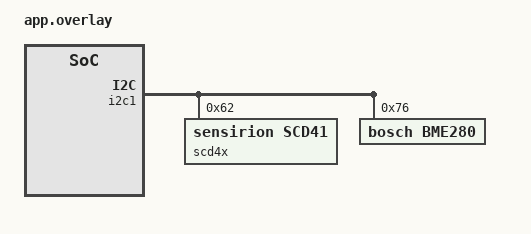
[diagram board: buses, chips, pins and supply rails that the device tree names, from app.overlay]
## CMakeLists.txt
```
cmake_minimum_required(VERSION 3.20.0)

find_package(Zephyr REQUIRED HINTS $ENV{ZEPHYR_BASE})
project(app)

target_sources(app PRIVATE src/main.c)
target_sources(app PRIVATE src/bluetoothExposure.c)
target_sources(app PRIVATE src/battery.c)
target_sources(app PRIVATE src/special_boot.c)
```

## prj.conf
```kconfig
CONFIG_BT=y
CONFIG_BT_PERIPHERAL=y
CONFIG_BT_EXT_ADV=y
CONFIG_BT_DEVICE_NAME="scd41-nrf"

CONFIG_PM_DEVICE=y
CONFIG_PM_DEVICE_SYSTEM_MANAGED=y

CONFIG_SENSOR=y
CONFIG_I2C=y

CONFIG_LOG=n
CONFIG_SERIAL=n
CONFIG_UART_CONSOLE=n
CONFIG_CONSOLE=n
CONFIG_UART_ASYNC_API=n
CONFIG_LOG_DEFAULT_LEVEL=0
CONFIG_LOG_BACKEND_UART=n
CONFIG_LOG_PRINTK=n

CONFIG_FLASH=y
CONFIG_FLASH_PAGE_LAYOUT=y
CONFIG_NVS=y
```

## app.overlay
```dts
/ {
	aliases {
		scd41 = &scd4x;
		bme280 = &bme280;
	};
};

&i2c1 {
	status = "okay";
	scd4x: scd4x@62 {
		status = "okay";
		compatible = "sensirion,scd41";
		reg = <0x62>;
		mode = <2>;
	};
	bme280: bme280@76 {
		status = "okay";
        compatible = "bosch,bme280";
        reg = <0x76>;
    };
};
```

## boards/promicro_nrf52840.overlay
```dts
/ {
	chosen {
		zephyr,settings-partition = &storage_partition;
	};
};

&flash0 {
	partitions {
		storage_partition: partition@d4000 {
			label = "storage";
			reg = <0x000d4000 0x00008000>;
		};
	};
};
```

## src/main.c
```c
#include <zephyr/types.h>
#include <stddef.h>
// #include <zephyr/sys/printk.h>
#include <zephyr/sys/byteorder.h>
#include <zephyr/sys/util.h>

#include <zephyr/kernel.h>
#include <zephyr/device.h>
#include <zephyr/drivers/sensor.h>
#include <zephyr/drivers/i2c.h>
#include <zephyr/drivers/sensor/scd4x.h>

#include "bluetoothExposure.h"
#include "battery.h"
#include "special_boot.h"

static const struct device *const scd_sensor = DEVICE_DT_GET(DT_ALIAS(scd41));
static const struct device *const bme_sensor = DEVICE_DT_GET(DT_ALIAS(bme280));



#include <zephyr/sys/byteorder.h>
#include <zephyr/sys/crc.h>

enum scd4x_model_t {
	SCD4X_MODEL_SCD40,
	SCD4X_MODEL_SCD41,
};

enum scd4x_mode_t {
	SCD4X_MODE_NORMAL,
	SCD4X_MODE_LOW_POWER,
	SCD4X_MODE_SINGLE_SHOT,
};

struct scd4x_config {
	struct i2c_dt_spec bus;
	enum scd4x_model_t model;
	enum scd4x_mode_t mode;
};

struct scd4x_data {
	uint16_t temp_sample;
	uint16_t humi_sample;
	uint16_t co2_sample;
};

struct cmds_t {
	uint16_t cmd;
	uint16_t cmd_duration_ms;
};

#define SCD4X_CMD_REINIT                         0
#define SCD4X_CMD_START_PERIODIC_MEASUREMENT     1
#define SCD4X_CMD_STOP_PERIODIC_MEASUREMENT      2
#define SCD4X_CMD_READ_MEASUREMENT               3
#define SCD4X_CMD_SET_TEMPERATURE_OFFSET         4
#define SCD4X_CMD_GET_TEMPERATURE_OFFSET         5
#define SCD4X_CMD_SET_SENSOR_ALTITUDE            6
#define SCD4X_CMD_GET_SENSOR_ALTITUDE            7
#define SCD4X_CMD_SET_AMBIENT_PRESSURE           8
#define SCD4X_CMD_GET_AMBIENT_PRESSURE           9
#define SCD4X_CMD_FORCED_RECALIB                 10
#define SCD4X_CMD_SET_AUTOMATIC_CALIB_ENABLE     11
#define SCD4X_CMD_GET_AUTOMATIC_CALIB_ENABLE     12
#define SCD4X_CMD_LOW_POWER_PERIODIC_MEASUREMENT 13
#define SCD4X_CMD_GET_DATA_READY_STATUS          14
#define SCD4X_CMD_PERSIST_SETTINGS               15
#define SCD4X_CMD_SELF_TEST                      16
#define SCD4X_CMD_FACTORY_RESET                  17
#define SCD4X_CMD_MEASURE_SINGLE_SHOT            18
#define SCD4X_CMD_MEASURE_SINGLE_SHOT_RHT        19
#define SCD4X_CMD_POWER_DOWN                     20
#define SCD4X_CMD_WAKE_UP                        21
#define SCD4X_CMD_SET_SELF_CALIB_INITIAL_PERIOD  22
#define SCD4X_CMD_GET_SELF_CALIB_INITIAL_PERIOD  23
#define SCD4X_CMD_SET_SELF_CALIB_STANDARD_PERIOD 24
#define SCD4X_CMD_GET_SELF_CALIB_STANDARD_PERIOD 25

#define SCD4X_AMBIENT_PRESSURE_IDX_MAX   1200

#define SCD4X_MAX_TEMP 175
#define SCD4X_MIN_TEMP -45

#define SCD4X_CRC_POLY 0x31
#define SCD4X_CRC_INIT 0xFF

const struct cmds_t scd4x_cmds_MULTI[] = {
	{0x3646, 30},   {0x21B1, 0},  {0x3F86, 500}, {0xEC05, 1},   {0x241D, 1},     {0x2318, 1},
	{0x2427, 1},    {0x2322, 1},  {0xE000, 1},   {0xE000, 1},   {0x362F, 400},   {0x2416, 1},
	{0x2313, 1},    {0x21AC, 0},  {0xE4B8, 1},   {0x3615, 800}, {0x3639, 10000}, {0x3632, 1200},
	{0x219D, 5000}, {0x2196, 50}, {0x36E0, 1},   {0x36F6, 30},  {0x2445, 1},     {0x2340, 1},
	{0x244E, 1},    {0x234B, 1},
};

static uint8_t scd4x_calc_crc(uint16_t value)
{
	uint8_t buf[2];

	sys_put_be16(value, buf);

	return crc8(buf, 2, SCD4X_CRC_POLY, SCD4X_CRC_INIT, false);
}

static int scd4x_write_command(const struct device *dev, uint8_t cmd)
{
	const struct scd4x_config *cfg = dev->config;
	uint8_t tx_buf[2];
	int ret;

	sys_put_be16(scd4x_cmds_MULTI[cmd].cmd, tx_buf);

	ret = i2c_write_dt(&cfg->bus, tx_buf, sizeof(tx_buf));

	if (scd4x_cmds_MULTI[cmd].cmd_duration_ms) {
		k_msleep(scd4x_cmds_MULTI[cmd].cmd_duration_ms);
	}

	return ret;
}

static int scd4x_write_reg(const struct device *dev, uint8_t cmd, uint16_t *data, uint8_t data_size)
{
	const struct scd4x_config *cfg = dev->config;
	int ret;
	uint8_t tx_buf[((data_size * 3) + 2)];

	sys_put_be16(scd4x_cmds_MULTI[cmd].cmd, tx_buf);

	uint8_t tx_buf_pos = 2;

	for (uint8_t i = 0; i < data_size; i++) {
		sys_put_be16(data[i], &tx_buf[tx_buf_pos]);
		tx_buf_pos += 2;
		tx_buf[tx_buf_pos++] = scd4x_calc_crc(data[i]);
	}

	ret = i2c_write_dt(&cfg->bus, tx_buf, sizeof(tx_buf));
	if (ret < 0) {
		 //printk("Failed to write i2c data.");
		return ret;
	}

	if (scd4x_cmds_MULTI[cmd].cmd_duration_ms) {
		k_msleep(scd4x_cmds_MULTI[cmd].cmd_duration_ms);
	}
	return 0;
}

static int scd4x_read_reg(const struct device *dev, uint8_t *rx_buf, uint8_t rx_buf_size)
{
	const struct scd4x_config *cfg = dev->config;
	int ret;

	ret = i2c_read_dt(&cfg->bus, rx_buf, rx_buf_size);
	if (ret < 0) {
		// printk("Failed to read i2c data.");
		return ret;
	}

	for (uint8_t i = 0; i < (rx_buf_size / 3); i++) {
		ret = scd4x_calc_crc(sys_get_be16(&rx_buf[i * 3]));
		if (ret != rx_buf[(i * 3) + 2]) {
			// printk("Invalid CRC.");
			return -EIO;
		}
	}

	return 0;
}

int wakeup_scd41(const struct device *dev)
{
	/*send wake up command twice because of an expected nack return in power down mode*/
	scd4x_write_command(dev, SCD4X_CMD_WAKE_UP);
	int ret = scd4x_write_command(dev, SCD4X_CMD_WAKE_UP);
	if (ret < 0) {
		 //printk("Failed write wake_up command.");
		return ret;
	}

	return 0;
}

int power_down_scd41(const struct device *dev) 
{
	int ret = scd4x_write_command(dev, SCD4X_CMD_POWER_DOWN);
	if (ret < 0) {
		 //printk("Failed to write power_down command.");
		return ret;
	}

	return 0;
}

int _set_ambient_pressure_scd41(const struct device *dev, const struct sensor_value *val)
{
	int ret;

	uint16_t ambient_pressure = val->val1;

	ret = scd4x_write_reg(dev, SCD4X_CMD_SET_AMBIENT_PRESSURE, &ambient_pressure, 1);
	if (ret < 0) {
		 //printk("Failed to write set_ambient_pressure register.");
		return ret;
	}

	return 0;
}

int _scd4x_forced_recalibration(const struct device *dev, uint16_t target_concentration,
			       uint16_t *frc_correction)
{
	uint8_t rx_buf[3];
	int ret;

	ret = scd4x_write_reg(dev, SCD4X_CMD_FORCED_RECALIB, &target_concentration, 1);
	if (ret < 0) {
		// printk("Failed to write perform_forced_recalibration register.");
		return ret;
	}

	ret = scd4x_read_reg(dev, rx_buf, sizeof(rx_buf));
	if (ret < 0) {
		// printk("Failed to read perform_forced_recalibration register.");
		return ret;
	}

	*frc_correction = sys_get_be16(rx_buf);

	/*from datasheet*/
	if (*frc_correction == 0xFFFF) {
		// printk("FRC failed. Returned 0xFFFF.");
		return -EIO;
	}

	*frc_correction -= 0x8000;

	return 0;
}

int set_ambient_pressure_scd41(const struct device *dev, const struct sensor_value *val)
{
	if (val->val1 > SCD4X_AMBIENT_PRESSURE_IDX_MAX || val->val1 < 700) {
		return -EINVAL;
	}
	int ret = _set_ambient_pressure_scd41(dev, val);
	if (ret < 0) {
		 //printk("Failed to set ambient pressure.");
		return ret;
	}
	
	return 0;
}

static int scd4x_channel_get(const struct device *dev, enum sensor_channel chan,
			     struct sensor_value *val)
{
	const struct scd4x_data *data = dev->data;
	int64_t tmp_val;

	switch ((enum sensor_channel)chan) {
	case SENSOR_CHAN_AMBIENT_TEMP:
		/*Calculation from Datasheet*/
		tmp_val = data->temp_sample * SCD4X_MAX_TEMP;
		val->val1 = (int32_t)(tmp_val / 0xFFFF) + SCD4X_MIN_TEMP;
		val->val2 = ((tmp_val % 0xFFFF) * 1000000) / 0xFFFF;
		break;
	case SENSOR_CHAN_HUMIDITY:
		/*Calculation from Datasheet*/
		tmp_val = data->humi_sample * 100;
		val->val1 = (int32_t)(tmp_val / 0xFFFF);
		val->val2 = ((tmp_val % 0xFFFF) * 1000000) / 0xFFFF;
		break;
	case SENSOR_CHAN_CO2:
		val->val1 = data->co2_sample;
		val->val2 = 0;
		break;
	default:
		return -ENOTSUP;
	}
	return 0;
}

int get_co2_data_scd41(
	const struct device *dev,
	const struct sensor_value * pressure,
	const struct sensor_value * co2_measurement
) {
	int ret;

	ret = wakeup_scd41(dev);
	if (ret < 0) {
		return ret;
	}

	ret = set_ambient_pressure_scd41(dev, pressure);
	if (ret < 0) {
		return ret;
	}

	ret = scd4x_write_command(dev, SCD4X_CMD_MEASURE_SINGLE_SHOT);
	if (ret < 0) {
		return ret;
	}

	ret = scd4x_channel_get(dev, SENSOR_CHAN_CO2, co2_measurement);
	if (ret < 0) {
		return ret;
	}

	ret = power_down_scd41(dev);
	if (ret < 0) {
		return ret;
	}

	return 0;
}

int round_to_integer(double number) {
	int result = (int)(number + (number >= 0 ? 0.5 : -0.5));
	return result;
}

int prepare_measuring(void)
{
	if (!device_is_ready(scd_sensor))
	{
 		//printk("SCD41 %s is not ready.\n", scd_sensor->name);
		return -1;
	}


	struct sensor_value auto_calibration = {
		.val1 = 0,
		.val2 = 0,
	};

	sensor_attr_get(scd_sensor, SENSOR_CHAN_ALL, SENSOR_ATTR_SCD4X_AUTOMATIC_CALIB_ENABLE, &auto_calibration);

	if (auto_calibration.val1 != 0) {
		auto_calibration.val1 = 0;
		sensor_attr_set(scd_sensor, SENSOR_CHAN_ALL, SENSOR_ATTR_SCD4X_AUTOMATIC_CALIB_ENABLE, &auto_calibration);
	}

	if (!device_is_ready(bme_sensor))
	{
 		//printk("BME280 %s is not ready.\n", bme_sensor->name);
		return -1;
	}

	return 0;
}

int get_measurement_data(
	struct sensor_value *co2_measurement,
	struct sensor_value *temperature_measurement,
	struct sensor_value *pressure_measurement,
	struct sensor_value *humidity_measurement
) {
	int ret;

	ret = sensor_sample_fetch(bme_sensor);

	if (ret < 0)
	{
 		//printk("failed sample fetch from %s\n", bme_sensor->name);
		return ret;
	}

	sensor_channel_get(bme_sensor, SENSOR_CHAN_AMBIENT_TEMP, temperature_measurement);
	sensor_channel_get(bme_sensor, SENSOR_CHAN_HUMIDITY, humidity_measurement);
	sensor_channel_get(bme_sensor, SENSOR_CHAN_PRESS, pressure_measurement);

 	//printk("bme temp %d %d\n", temperature_measurement->val1, temperature_measurement->val2);
 	//printk("bme hum %d %d\n", humidity_measurement->val1, humidity_measurement->val2);
 	//printk("bme press %d %d\n", pressure_measurement->val1, pressure_measurement->val2);

	// pressure in hecto pascals for correct CO2 measurement
	int pressure_correction = pressure_measurement->val1 * 10 + round_to_integer(pressure_measurement->val2 / 100000.0);

	struct sensor_value correction = {
		.val1 = pressure_correction,
		.val2 = 0,
	};


	ret = wakeup_scd41(scd_sensor);
	if (ret < 0) {
		return ret;
	}

	sensor_attr_set(scd_sensor, SENSOR_CHAN_CO2, SENSOR_ATTR_SCD4X_AMBIENT_PRESSURE, &correction);

	ret = sensor_sample_fetch(scd_sensor);
	if (ret < 0)
	{
		//printk("failed sample fetch from %s\n", scd_sensor->name);
		return ret;
	}

	sensor_channel_get(scd_sensor, SENSOR_CHAN_CO2, co2_measurement);

	//printk("scd CO2 %d %d\n", co2_measurement->val1, co2_measurement->val2);
	return 0;
}

int recalibrate() {
	int ret = 0;
	struct bt_le_ext_adv* advertisement = NULL;

	ret = prepare_measuring();

	if (ret < 0) {
		return ret;
	}

	ret = prepare_bluetooth_advertising(&advertisement);
		
	if (ret < 0) {
		return ret;
	}

	struct sensor_value co2_measurement;
	struct sensor_value temperature_measurement;
	struct sensor_value pressure_measurement;
	struct sensor_value humidity_measurement;

	int64_t ready_to_calibration_time = k_uptime_get() + K_MINUTES(7).ticks;

	while (k_uptime_get() < ready_to_calibration_time)
	{
		ret = perform_measurement(
			&advertisement, 
			&co2_measurement,
			&temperature_measurement,
			&pressure_measurement,
			&humidity_measurement
		);

		if (ret < 0) {
			return ret;
		}
	}
	
	uint16_t frc_correction = 0;
	ret = wakeup_scd41(scd_sensor);
	
	if (ret < 0) {
		return ret;
	}

	ret = _scd4x_forced_recalibration(scd_sensor, 420, &frc_correction);
	
	if (ret < 0) {
		return ret;
	}
	//printk("Correction applied: %d ppm", frc_correction);

	return ret;
}

int perform_measurement(
	struct bt_le_ext_adv** advertisement,
	struct sensor_value* co2_measurement,
	struct sensor_value* temperature_measurement,
	struct sensor_value* pressure_measurement,
	struct sensor_value* humidity_measurement
) {
	int ret = 0;
	do {
		ret = get_measurement_data(
			co2_measurement,
			temperature_measurement,
			pressure_measurement,
			humidity_measurement
		);
		if (ret < 0) {
			return ret;
		}
	} while (co2_measurement->val1 <= 0);

	int16_t temp_bt_home = (temperature_measurement->val1) * 100 + round_to_integer(temperature_measurement->val2 / 10000.0);
	int16_t humidity_bt_home = (humidity_measurement->val1) * 100 + round_to_integer(humidity_measurement->val2 / 10000.0);
	int32_t pressure_bt_home = pressure_measurement->val1 * 1000 + round_to_integer(pressure_measurement->val2 / 1000.0);
	int32_t co2_bt_home = co2_measurement->val1;
	float battery_voltage = read_battery_voltage();
	uint8_t battery_charge = ((battery_voltage - 3.4) * 100) / (4.1 - 3.4);

	if (*advertisement != NULL) {
		ret = update_service_data(
			advertisement,
			temp_bt_home,
			humidity_bt_home,
			pressure_bt_home,
			co2_bt_home,
			battery_charge
		);

		if (ret < 0) {
			return ret;
		}

		ret = start_advertising(advertisement);

		if (ret < 0) {
			return ret;
		}
	
		k_sleep(K_MSEC(3000));
		ret = stop_advertising(advertisement);

		if (ret < 0) {
			return ret;
		}
	} else {
		// to have the same power profile for SCD41 during calibration
		k_sleep(K_MSEC(3000));
	}

    k_sleep(K_MSEC(60000));

	return ret;
}

int main(void)
{
	special_boot_config config = {
        .count_for_special_boot = 3,
        .delay = 3000,
        .callback = recalibrate
    };

    int ret = init_special_boot(&config);
 	//printk("Starting SCD4x sensor app with nRF Connect SDK\n");

	struct bt_le_ext_adv *advertisement = NULL;

	struct sensor_value co2_measurement;
	struct sensor_value temperature_measurement;
	struct sensor_value pressure_measurement;
	struct sensor_value humidity_measurement;

	ret = prepare_measuring();
	if (ret < 0) {
		// printk("prepare_measuring failed\n");
		return ret;
	}

	ret = prepare_bluetooth_advertising(&advertisement);
	if (ret < 0) {
		// printk("prepare_bluetooth_advertising failed\n");
		return ret;
	}

	while (1)
	{
		ret = perform_measurement(
			&advertisement, 
			&co2_measurement,
			&temperature_measurement,
			&pressure_measurement,
			&humidity_measurement
		);
		if (ret < 0) {
			// printk("perform_measurement failed\n");
			return ret;
		}
	}

	return ret;
}
```

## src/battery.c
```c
#include <zephyr/kernel.h>

float read_battery_voltage() {
  // The volatile keyword is a type qualifier in C/C++ that tells the compiler a variable's value might change in ways that the compiler cannot detect from the code alone. 
  // Essentially, it says: "Don't optimize access to this variable because its value might change unexpectedly."
  volatile uint32_t raw_value = 0;
  // Configure SAADC
  NRF_SAADC->ENABLE = 1;
  NRF_SAADC->RESOLUTION = SAADC_RESOLUTION_VAL_12bit;
  
  NRF_SAADC->CH[0].CONFIG = 
    (SAADC_CH_CONFIG_GAIN_Gain1_4 << SAADC_CH_CONFIG_GAIN_Pos) |
    (SAADC_CH_CONFIG_MODE_SE << SAADC_CH_CONFIG_MODE_Pos) |
    (SAADC_CH_CONFIG_REFSEL_Internal << SAADC_CH_CONFIG_REFSEL_Pos);
  
  NRF_SAADC->CH[0].PSELP = SAADC_CH_PSELP_PSELP_VDDHDIV5;
  NRF_SAADC->CH[0].PSELN = SAADC_CH_PSELN_PSELN_NC;
  
  // Sample
  NRF_SAADC->RESULT.PTR = (uint32_t)&raw_value;
  NRF_SAADC->RESULT.MAXCNT = 1;
  NRF_SAADC->TASKS_START = 1;
  while (!NRF_SAADC->EVENTS_STARTED);
  NRF_SAADC->EVENTS_STARTED = 0;
  NRF_SAADC->TASKS_SAMPLE = 1;
  while (!NRF_SAADC->EVENTS_END);
  NRF_SAADC->EVENTS_END = 0;
  NRF_SAADC->TASKS_STOP = 1;
  while (!NRF_SAADC->EVENTS_STOPPED);
  NRF_SAADC->EVENTS_STOPPED = 0;
  NRF_SAADC->ENABLE = 0;

  // Force explicit double-precision calculations
  double raw_double = (double)raw_value;
  double step1 = raw_double * 2.4;
  double step2 = step1 / 4095.0;
  double vddh = 5.0 * step2;

  return (float)vddh;
}
```

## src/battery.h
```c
#pragma once

float read_battery_voltage();
```

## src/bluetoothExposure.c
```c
#include "bluetoothExposure.h"

#define SERVICE_DATA_LEN 18
#define SERVICE_UUID 0xfcd2

#define ADV_PARAM BT_LE_ADV_PARAM(BT_LE_ADV_OPT_EXT_ADV, \
				  BT_GAP_ADV_SLOW_INT_MIN, \
				  BT_GAP_ADV_SLOW_INT_MAX, NULL)

enum bt_sample_adv_evt {
	BT_SAMPLE_EVT_CONNECTED,
	BT_SAMPLE_EVT_DISCONNECTED,
	BT_SAMPLE_EVT_MAX,
};

enum bt_sample_adv_st {
	BT_SAMPLE_ST_ADV,
	BT_SAMPLE_ST_CONNECTED,
};

static volatile enum bt_sample_adv_st app_st = BT_SAMPLE_ST_ADV;

static struct k_poll_signal poll_sig = K_POLL_SIGNAL_INITIALIZER(poll_sig);

static uint8_t service_data[SERVICE_DATA_LEN] = {
	BT_UUID_16_ENCODE(SERVICE_UUID),
	0x40,   /* BTHome Device Information */
	0x02,	/* Temperature */
	0xc4,	/* Low byte */
	0x00,   /* High byte */
	0x03,	/* Humidity */
	0xbf,	/* 50.55%  low byte*/
	0x13,   /* 50.55%  high byte*/
	0x04,   /* Preassure hPa */
	0x00,   /* byte 1 */
	0x00,   /* byte 2 */
	0x00,   /* byte 3 */
	0x12,   /* CO2 */
	0x00,   /* byte 1 */
	0x00,   /* byte 2 */
	0x01,   /* Battery */
	0x00    /* byte 1 */
};

// static struct bt_data ad[] = {
static struct bt_data advertisement_payload[] = {
	BT_DATA(BT_DATA_NAME_COMPLETE, CONFIG_BT_DEVICE_NAME, sizeof(CONFIG_BT_DEVICE_NAME) - 1),
	BT_DATA(BT_DATA_SVC_DATA16, service_data, ARRAY_SIZE(service_data))
};

int _start_advertising(struct bt_le_ext_adv *full_advertisement)
{
	int err;

// 	printk("Starting Extended Advertising\n");
	err = bt_le_ext_adv_start(full_advertisement, BT_LE_EXT_ADV_START_DEFAULT);
	if (err) {
// 		printk("Failed to start extended advertising (err %d)\n", err);
	}

	return err;
}

int prepare_bluetooth_advertising(struct bt_le_ext_adv **full_advertisement)
{
	int err;

	err = bt_enable(NULL);

	if (err) {
// 		printk("Bluetooth init failed (err %d)\n", err);
		return err;
	}

	err = bt_le_ext_adv_create(BT_LE_EXT_ADV_CONN, NULL, full_advertisement);

// 	printk("full_advertisement %p\n", (void*) full_advertisement);

	if (err) {
// 		printk("Failed to create advertising set (err %d)\n", err);
		return err;
	}

	return 0;
}

int start_advertising(struct bt_le_ext_adv **full_advertisement)
{
	int err = _start_advertising(*full_advertisement);

	if (err) {
		return err;
	}

	return 0;
}

int stop_advertising(struct bt_le_ext_adv **full_advertisement)
{
	int err = bt_le_ext_adv_stop(*full_advertisement);

	if (err) {
		return err;
	}

	return 0;
}

int update_service_data(
	struct bt_le_ext_adv **full_advertisement,
	int16_t temp_bt_home,
	int16_t humidity_bt_home,
	int32_t pressure_bt_home,
	int32_t co2_bt_home,
	uint8_t battery_charge
)
{
	int err;

	service_data[4] = temp_bt_home & 0xFF;
	service_data[5] = (temp_bt_home >> 8) & 0xFF;

	service_data[7] = humidity_bt_home & 0xFF;
	service_data[8] = (humidity_bt_home >> 8) & 0xFF;

	service_data[10] = pressure_bt_home & 0xFF;
	service_data[11] = (pressure_bt_home >> 8) & 0xFF;
	service_data[12] = (pressure_bt_home >> 16) & 0xFF;

	service_data[14] = co2_bt_home & 0xFF;
	service_data[15] = (co2_bt_home >> 8) & 0xFF;

	service_data[17] = battery_charge;

	err = bt_le_ext_adv_set_data(*full_advertisement, advertisement_payload, ARRAY_SIZE(advertisement_payload), NULL, 0);

	if (err) {
// 		printk("Failed to update advertising data (err %d)\n", err);
		return err;
	}

	return 0;
}
```

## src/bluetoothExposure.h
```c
#pragma once

#include <zephyr/kernel.h>
#include <zephyr/bluetooth/bluetooth.h>
#include <zephyr/bluetooth/uuid.h>

#include <zephyr/bluetooth/conn.h>
#include <zephyr/bluetooth/gap.h>
#include <zephyr/bluetooth/hci.h>

int prepare_bluetooth_advertising(struct bt_le_ext_adv **full_advertisement);

int update_service_data(
	struct bt_le_ext_adv **full_advertisement,
	int16_t temp_bt_home,
	int16_t humidity_bt_home,
	int32_t pressure_bt_home,
	int32_t co2_bt_home,
	uint8_t battery_charge
);

int start_advertising(struct bt_le_ext_adv **full_advertisement);
int stop_advertising(struct bt_le_ext_adv **full_advertisement);
```

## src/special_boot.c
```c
#include <zephyr/kernel.h>
#include <zephyr/device.h>
#include <zephyr/storage/flash_map.h>
#include <zephyr/fs/nvs.h>
#include <zephyr/sys/printk.h>

#define COUNTER_ID 1

typedef struct {
    uint32_t count_for_special_boot;
    uint32_t delay;
    int (*callback)(int counter_id);
} special_boot_config;

static struct nvs_fs fs;

int init_special_boot(special_boot_config *config) {
    int rc = 0;
    uint32_t counter = 0;
    uint32_t null_counter = 0;

    fs.flash_device = FIXED_PARTITION_DEVICE(storage_partition);
    fs.offset = FIXED_PARTITION_OFFSET(storage_partition);
    fs.sector_size = 0x2000;
    fs.sector_count = 4;

    rc = nvs_mount(&fs);
    if (rc) {
        printk("nvs_mount failed: %d\n", rc);
        return rc;
    }

    rc = nvs_read(&fs, COUNTER_ID, &counter, sizeof(counter));
    if (rc <= 0) {
        counter = 0;
    }

    /* reboot detected -> increment counter */
    counter++;

    nvs_write(&fs, COUNTER_ID, &counter, sizeof(counter));

    printk("boot counter: %u\n", counter);

    /* wait specified delay after reboot */
    k_sleep(K_MSEC(config->delay));

    nvs_write(&fs, COUNTER_ID, &null_counter, sizeof(counter));

    if (counter >= config->count_for_special_boot) {
        rc = config->callback(COUNTER_ID);
        return rc;
    } else {
        return rc;
    }
}
```

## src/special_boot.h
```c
#ifndef SPECIAL_BOOT_H
#define SPECIAL_BOOT_H

typedef struct {
    uint32_t count_for_special_boot;
    uint32_t delay;
    int (*callback)(int counter_id);
} special_boot_config;

int init_special_boot(special_boot_config *config);

#endif /* SPECIAL_BOOT_H */
```
